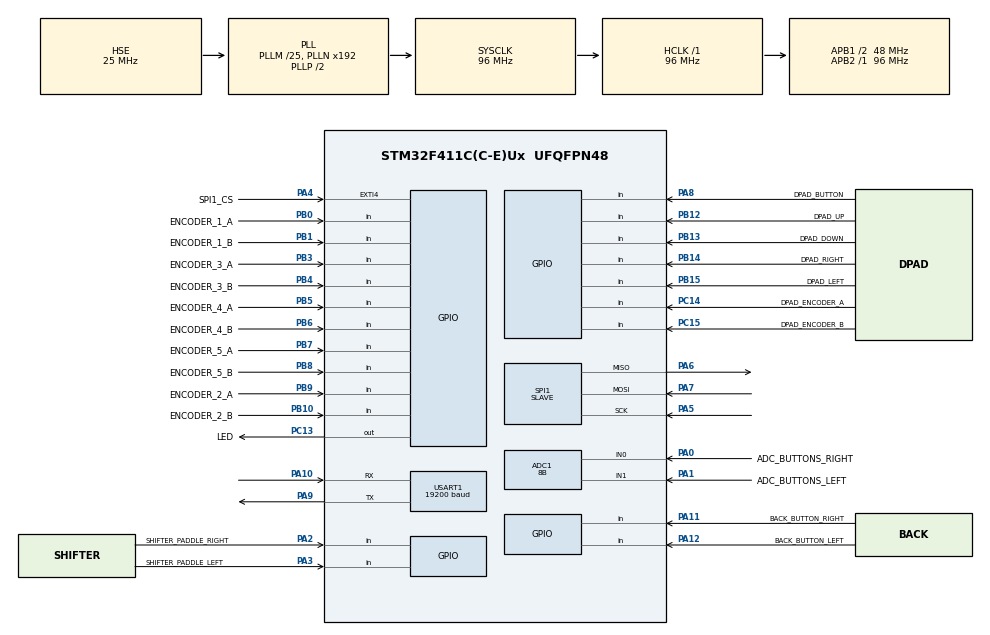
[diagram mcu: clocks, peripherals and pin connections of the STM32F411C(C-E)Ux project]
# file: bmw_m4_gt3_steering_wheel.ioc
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ADC1.Channel-0\#ChannelRegularConversion=ADC_CHANNEL_0
ADC1.Channel-1\#ChannelRegularConversion=ADC_CHANNEL_1
ADC1.ClockPrescaler=ADC_CLOCK_SYNC_PCLK_DIV8
ADC1.NbrOfConversion=2
ADC1.NbrOfConversionFlag=1
ADC1.Rank-0\#ChannelRegularConversion=1
ADC1.Rank-1\#ChannelRegularConversion=2
ADC1.Resolution=ADC_RESOLUTION_8B
ADC1.SamplingTime-0\#ChannelRegularConversion=ADC_SAMPLETIME_3CYCLES
ADC1.SamplingTime-1\#ChannelRegularConversion=ADC_SAMPLETIME_3CYCLES
ADC1.ScanConvMode=ENABLE
ADC1.master=1
Dma.ADC1.1.Direction=DMA_PERIPH_TO_MEMORY
Dma.ADC1.1.FIFOMode=DMA_FIFOMODE_DISABLE
Dma.ADC1.1.Instance=DMA2_Stream0
Dma.ADC1.1.MemDataAlignment=DMA_MDATAALIGN_WORD
Dma.ADC1.1.MemInc=DMA_MINC_ENABLE
Dma.ADC1.1.Mode=DMA_CIRCULAR
Dma.ADC1.1.PeriphDataAlignment=DMA_PDATAALIGN_WORD
Dma.ADC1.1.PeriphInc=DMA_PINC_DISABLE
Dma.ADC1.1.Priority=DMA_PRIORITY_LOW
Dma.Request0=SPI1_TX
Dma.Request1=ADC1
Dma.SPI1_TX.0.Direction=DMA_MEMORY_TO_PERIPH
Dma.SPI1_TX.0.FIFOMode=DMA_FIFOMODE_DISABLE
Dma.SPI1_TX.0.Instance=DMA2_Stream2
Dma.SPI1_TX.0.MemDataAlignment=DMA_MDATAALIGN_BYTE
Dma.SPI1_TX.0.MemInc=DMA_MINC_ENABLE
Dma.SPI1_TX.0.Mode=DMA_NORMAL
Dma.SPI1_TX.0.PeriphDataAlignment=DMA_PDATAALIGN_BYTE
Dma.SPI1_TX.0.PeriphInc=DMA_PINC_DISABLE
Dma.SPI1_TX.0.Priority=DMA_PRIORITY_HIGH
Mcu.Family=STM32F4
Mcu.Name=STM32F411C(C-E)Ux
Mcu.Package=UFQFPN48
NVIC.DMA2_Stream0_IRQn=true\:0\:0\:false\:false\:true\:false\:true\:true
NVIC.DMA2_Stream2_IRQn=true\:0\:0\:false\:false\:true\:false\:true\:true
NVIC.EXTI4_IRQn=true\:0\:0\:false\:false\:true\:true\:true\:true
NVIC.PriorityGroup=NVIC_PRIORITYGROUP_4
NVIC.TIM1_UP_TIM10_IRQn=true\:1\:0\:true\:false\:true\:true\:true\:true
PA0-WKUP.GPIO_Label=ADC_BUTTONS_RIGHT
PA0-WKUP.Signal=ADCx_IN0
PA1.GPIO_Label=ADC_BUTTONS_LEFT
PA1.Signal=ADCx_IN1
PA10.Mode=Asynchronous
PA10.Signal=USART1_RX
PA11.GPIO_Label=BACK_BUTTON_RIGHT
PA11.GPIO_PuPd=GPIO_PULLUP
PA11.Signal=GPIO_Input
PA12.GPIO_Label=BACK_BUTTON_LEFT
PA12.GPIO_PuPd=GPIO_PULLUP
PA12.Signal=GPIO_Input
PA13.Mode=Serial_Wire
PA13.Signal=SYS_JTMS-SWDIO
PA14.Mode=Serial_Wire
PA14.Signal=SYS_JTCK-SWCLK
PA2.GPIO_Label=SHIFTER_PADDLE_RIGHT
PA2.GPIO_PuPd=GPIO_PULLUP
PA2.Signal=GPIO_Input
PA3.GPIO_Label=SHIFTER_PADDLE_LEFT
PA3.GPIO_PuPd=GPIO_PULLUP
PA3.Signal=GPIO_Input
PA4.GPIO_Label=SPI1_CS
PA4.Signal=GPXTI4
PA5.GPIO_Speed=GPIO_SPEED_FREQ_LOW
PA5.Mode=Full_Duplex_Slave
PA5.Signal=SPI1_SCK
PA6.GPIO_Speed=GPIO_SPEED_FREQ_LOW
PA6.Mode=Full_Duplex_Slave
PA6.Signal=SPI1_MISO
PA7.GPIO_Speed=GPIO_SPEED_FREQ_LOW
PA7.Mode=Full_Duplex_Slave
PA7.Signal=SPI1_MOSI
PA8.GPIO_Label=DPAD_BUTTON
PA8.GPIO_PuPd=GPIO_PULLUP
PA8.Signal=GPIO_Input
PA9.Mode=Asynchronous
PA9.Signal=USART1_TX
PB0.GPIO_Label=ENCODER_1_A
PB0.GPIO_PuPd=GPIO_PULLUP
PB0.Signal=GPIO_Input
PB1.GPIO_Label=ENCODER_1_B
PB1.GPIO_PuPd=GPIO_PULLUP
PB1.Signal=GPIO_Input
PB10.GPIO_Label=ENCODER_2_B
PB10.GPIO_PuPd=GPIO_PULLUP
PB10.Signal=GPIO_Input
PB12.GPIO_Label=DPAD_UP
PB12.GPIO_PuPd=GPIO_PULLUP
PB12.Signal=GPIO_Input
PB13.GPIO_Label=DPAD_DOWN
PB13.GPIO_PuPd=GPIO_PULLUP
PB13.Signal=GPIO_Input
PB14.GPIO_Label=DPAD_RIGHT
PB14.GPIO_PuPd=GPIO_PULLUP
PB14.Signal=GPIO_Input
PB15.GPIO_Label=DPAD_LEFT
PB15.GPIO_PuPd=GPIO_PULLUP
PB15.Signal=GPIO_Input
PB3.GPIO_Label=ENCODER_3_A
PB3.GPIO_PuPd=GPIO_PULLUP
PB3.Signal=GPIO_Input
PB4.GPIO_Label=ENCODER_3_B
PB4.GPIO_PuPd=GPIO_PULLUP
PB4.Signal=GPIO_Input
PB5.GPIO_Label=ENCODER_4_A
PB5.GPIO_PuPd=GPIO_PULLUP
PB5.Signal=GPIO_Input
PB6.GPIO_Label=ENCODER_4_B
PB6.GPIO_PuPd=GPIO_PULLUP
PB6.Signal=GPIO_Input
PB7.GPIO_Label=ENCODER_5_A
PB7.GPIO_PuPd=GPIO_PULLUP
PB7.Signal=GPIO_Input
PB8.GPIO_Label=ENCODER_5_B
PB8.GPIO_PuPd=GPIO_PULLUP
PB8.Signal=GPIO_Input
PB9.GPIO_Label=ENCODER_2_A
PB9.GPIO_PuPd=GPIO_PULLUP
PB9.Signal=GPIO_Input
PC13-ANTI_TAMP.GPIO_Label=LED
PC13-ANTI_TAMP.Signal=GPIO_Output
PC14-OSC32_IN.GPIO_Label=DPAD_ENCODER_A
PC14-OSC32_IN.GPIO_PuPd=GPIO_PULLUP
PC14-OSC32_IN.Signal=GPIO_Input
PC15-OSC32_OUT.GPIO_Label=DPAD_ENCODER_B
PC15-OSC32_OUT.GPIO_PuPd=GPIO_PULLUP
PC15-OSC32_OUT.Signal=GPIO_Input
PH0\ -\ OSC_IN.Mode=HSE-External-Oscillator
PH0\ -\ OSC_IN.Signal=RCC_OSC_IN
PH1\ -\ OSC_OUT.Mode=HSE-External-Oscillator
PH1\ -\ OSC_OUT.Signal=RCC_OSC_OUT
ProjectManager.HeapSize=0x200
ProjectManager.StackSize=0x400
ProjectManager.TargetToolchain=Makefile
RCC.48MHZClocksFreq_Value=48000000
RCC.AHBFreq_Value=96000000
RCC.APB1CLKDivider=RCC_HCLK_DIV2
RCC.APB1Freq_Value=48000000
RCC.APB1TimFreq_Value=96000000
RCC.APB2Freq_Value=96000000
RCC.APB2TimFreq_Value=96000000
RCC.CortexFreq_Value=96000000
RCC.HCLKFreq_Value=96000000
RCC.HSE_VALUE=25000000
RCC.HSI_VALUE=16000000
RCC.LSE_VALUE=32768
RCC.PLLM=25
RCC.PLLSourceVirtual=RCC_PLLSOURCE_HSE
RCC.SYSCLKFreq_VALUE=96000000
RCC.SYSCLKSource=RCC_SYSCLKSOURCE_PLLCLK
RCC.VCOOutputFreq_Value=192000000
SH.ADCx_IN0.0=ADC1_IN0,IN0
SH.ADCx_IN1.0=ADC1_IN1,IN1
SPI1.CLKPhase=SPI_PHASE_2EDGE
SPI1.Direction=SPI_DIRECTION_2LINES
SPI1.Mode=SPI_MODE_SLAVE
SPI1.TIMode=SPI_TIMODE_DISABLE
SPI1.VirtualType=VM_SLAVE
TIM1.Period=999
TIM1.Prescaler=95
USART1.BaudRate=19200
USART1.Mode=MODE_TX
USART1.VirtualMode=VM_ASYNC
VP_TIM1_VS_ClockSourceINT.Mode=Internal
board=custom

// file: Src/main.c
/* USER CODE BEGIN Header */
/**
  ******************************************************************************
  * @file           : main.c
  * @brief          : Main program body
  ******************************************************************************
  * @attention
  *
  * Copyright (c) 2024 STMicroelectronics.
  * All rights reserved.
  *
  * This software is licensed under terms that can be found in the LICENSE file
  * in the root directory of this software component.
  * If no LICENSE file comes with this software, it is provided AS-IS.
  *
  ******************************************************************************
  */
/* USER CODE END Header */
#include "main.h"

/* USER CODE BEGIN Includes */

#include <stdio.h>
#include <string.h>

#include "fanatec.h"

/* USER CODE END Includes */

ADC_HandleTypeDef hadc1;
DMA_HandleTypeDef hdma_adc1;

SPI_HandleTypeDef hspi1;
DMA_HandleTypeDef hdma_spi1_tx;

TIM_HandleTypeDef htim1;

UART_HandleTypeDef huart1;

/* USER CODE BEGIN PV */

GPIO_PinState pins_debounced[NUMBER_OF_VIRTUAL_INPUTS] = {0};

struct encoder_t encoders[NUMBER_OF_ENCODERS];

uint32_t ADC_DMA_buffer[2] = {0};
uint8_t new_ADC_data = 0;

struct fanatec_data_out_t fanatec_data_out;

char received_data;

/* USER CODE END PV */

void SystemClock_Config(void);
static void MX_GPIO_Init(void);
static void MX_DMA_Init(void);
static void MX_SPI1_Init(void);
static void MX_USART1_UART_Init(void);
static void MX_ADC1_Init(void);
static void MX_TIM1_Init(void);
/* USER CODE BEGIN PFP */

void Pin_To_Bit(uint8_t* bitfield, uint8_t bit_index, GPIO_PinState pin_state);
uint16_t Compute_UART_CRC(const uint8_t* buffer, uint8_t length);
uint16_t Accumulate_UART_CRC(uint16_t accumulation, uint8_t byte);

/* USER CODE END PFP */

int main(void)
{

  /* USER CODE BEGIN 1 */

  for (int i = 0; i < NUMBER_OF_ENCODERS; i++)
  {
    encoders[i].kind       = (i == 0) ? Half_Pulse_Per_Detent : Pulse_Per_Detent;
    encoders[i].state      = Idle;
    encoders[i].A          = GPIO_PIN_SET;
    encoders[i].B          = GPIO_PIN_SET;
    encoders[i].previous_A = GPIO_PIN_SET;
    encoders[i].previous_B = GPIO_PIN_SET;
  }

  memset(fanatec_data_out.raw, 0, sizeof (fanatec_data_out.raw));

  fanatec_data_out.header = 0xA5;
  fanatec_data_out.id     = 0x04; // ID for universal HUB
  fanatec_data_out.fwvers = 0x13; // firmware version for universal HUB
  fanatec_data_out.crc    = Compute_Fanatec_CRC(fanatec_data_out.raw, sizeof(fanatec_data_out.raw) - 1);

  /* USER CODE END 1 */

  /* MCU Configuration--------------------------------------------------------*/

  /* Reset of all peripherals, Initializes the Flash interface and the Systick. */
  HAL_Init();

  /* Configure the system clock */
  SystemClock_Config();

  /* Initialize all configured peripherals */
  MX_GPIO_Init();
  MX_DMA_Init();
  MX_SPI1_Init();
  MX_USART1_UART_Init();
  MX_ADC1_Init();
  MX_TIM1_Init();
  /* USER CODE BEGIN 2 */

  HAL_ADC_Start_DMA(&hadc1, ADC_DMA_buffer, 2);

  HAL_TIM_Base_Start_IT(&htim1);

  uint8_t UART_buffer[9] = {0};
  UART_buffer[0] = 0xA5;

  /* USER CODE END 2 */

  /* Infinite loop */
  /* USER CODE BEGIN WHILE */
  while (1)
  {
    // Increment UART buffer sequence counter
    if (UART_buffer[1] < 255)
    {
      UART_buffer[1]++;
    }
    else
    {
      UART_buffer[1] = 0;
    }

    // Map inputs to UART buffer
    Pin_To_Bit(&UART_buffer[2], 0, pins_debounced[0]);  // Right shifter paddle
    Pin_To_Bit(&UART_buffer[2], 1, pins_debounced[1]);  // Left shifter paddle
    Pin_To_Bit(&UART_buffer[2], 2, pins_debounced[2]);  // Right back button
    Pin_To_Bit(&UART_buffer[2], 3, pins_debounced[3]);  // Left back button
    Pin_To_Bit(&UART_buffer[2], 4, pins_debounced[4]);  // D-pad up
    Pin_To_Bit(&UART_buffer[2], 5, pins_debounced[5]);  // D-pad down
    Pin_To_Bit(&UART_buffer[2], 6, pins_debounced[6]);  // D-pad right
    Pin_To_Bit(&UART_buffer[2], 7, pins_debounced[7]);  // D-pad left
    if (pins_debounced[4] == GPIO_PIN_SET &&
        pins_debounced[5] == GPIO_PIN_SET &&
        pins_debounced[6] == GPIO_PIN_SET &&
        pins_debounced[7] == GPIO_PIN_SET)
      Pin_To_Bit(&UART_buffer[3], 0, pins_debounced[8]); // D-pad button
    else
      Pin_To_Bit(&UART_buffer[3], 0, GPIO_PIN_SET); // D-pad button
    Pin_To_Bit(&UART_buffer[3], 1, pins_debounced[21]); // Right 1
    Pin_To_Bit(&UART_buffer[3], 2, pins_debounced[22]); // Right 2
    Pin_To_Bit(&UART_buffer[3], 3, pins_debounced[23]); // Right 3
    Pin_To_Bit(&UART_buffer[3], 4, pins_debounced[24]); // Right 4
    Pin_To_Bit(&UART_buffer[3], 5, pins_debounced[25]); // Right 5
    Pin_To_Bit(&UART_buffer[3], 6, pins_debounced[26]); // Right 6
    Pin_To_Bit(&UART_buffer[3], 7, pins_debounced[27]); // Left 1
    Pin_To_Bit(&UART_buffer[4], 0, pins_debounced[28]); // Left 2
    Pin_To_Bit(&UART_buffer[4], 1, pins_debounced[29]); // Left 3
    Pin_To_Bit(&UART_buffer[4], 2, pins_debounced[30]); // Left 4
    Pin_To_Bit(&UART_buffer[4], 3, pins_debounced[31]); // Left 5
    Pin_To_Bit(&UART_buffer[4], 4, pins_debounced[32]); // Left 6
    Pin_To_Bit(&UART_buffer[4], 5, (encoders[0].state == Clockwise) ? GPIO_PIN_RESET : GPIO_PIN_SET);
    Pin_To_Bit(&UART_buffer[4], 6, (encoders[0].state == Counterclockwise) ? GPIO_PIN_RESET : GPIO_PIN_SET);
    Pin_To_Bit(&UART_buffer[4], 7, (encoders[1].state == Clockwise) ? GPIO_PIN_RESET : GPIO_PIN_SET);
    Pin_To_Bit(&UART_buffer[5], 0, (encoders[1].state == Counterclockwise) ? GPIO_PIN_RESET : GPIO_PIN_SET);
    Pin_To_Bit(&UART_buffer[5], 1, (encoders[2].state == Clockwise) ? GPIO_PIN_RESET : GPIO_PIN_SET);
    Pin_To_Bit(&UART_buffer[5], 2, (encoders[2].state == Counterclockwise) ? GPIO_PIN_RESET : GPIO_PIN_SET);
    Pin_To_Bit(&UART_buffer[5], 3, (encoders[3].state == Clockwise) ? GPIO_PIN_RESET : GPIO_PIN_SET);
    Pin_To_Bit(&UART_buffer[5], 4, (encoders[3].state == Counterclockwise) ? GPIO_PIN_RESET : GPIO_PIN_SET);
    Pin_To_Bit(&UART_buffer[5], 5, (encoders[4].state == Clockwise) ? GPIO_PIN_RESET : GPIO_PIN_SET);
    Pin_To_Bit(&UART_buffer[5], 6, (encoders[4].state == Counterclockwise) ? GPIO_PIN_RESET : GPIO_PIN_SET);
    Pin_To_Bit(&UART_buffer[5], 7, (encoders[5].state == Clockwise) ? GPIO_PIN_RESET : GPIO_PIN_SET);
    Pin_To_Bit(&UART_buffer[6], 0, (encoders[5].state == Counterclockwise) ? GPIO_PIN_RESET : GPIO_PIN_SET);

    uint16_t UART_CRC = Compute_UART_CRC(UART_buffer, sizeof(UART_buffer) - 2);
    UART_buffer[7] = (uint8_t)(UART_CRC & 0x00FF);
    UART_buffer[8] = (uint8_t)(UART_CRC >> 8);

    HAL_UART_Transmit(&huart1, UART_buffer, sizeof(UART_buffer), HAL_MAX_DELAY);

    HAL_Delay (2);

    /* USER CODE END WHILE */

  }
}

void SystemClock_Config(void)
{
  RCC_OscInitTypeDef RCC_OscInitStruct = {0};
  RCC_ClkInitTypeDef RCC_ClkInitStruct = {0};

  /** Configure the main internal regulator output voltage
  */
  __HAL_RCC_PWR_CLK_ENABLE();
  __HAL_PWR_VOLTAGESCALING_CONFIG(PWR_REGULATOR_VOLTAGE_SCALE1);

  /** Initializes the RCC Oscillators according to the specified parameters
  * in the RCC_OscInitTypeDef structure.
  */
  RCC_OscInitStruct.OscillatorType = RCC_OSCILLATORTYPE_HSE;
  RCC_OscInitStruct.HSEState = RCC_HSE_ON;
  RCC_OscInitStruct.PLL.PLLState = RCC_PLL_ON;
  RCC_OscInitStruct.PLL.PLLSource = RCC_PLLSOURCE_HSE;
  RCC_OscInitStruct.PLL.PLLM = 25;
  RCC_OscInitStruct.PLL.PLLN = 192;
  RCC_OscInitStruct.PLL.PLLP = RCC_PLLP_DIV2;
  RCC_OscInitStruct.PLL.PLLQ = 4;
  if (HAL_RCC_OscConfig(&RCC_OscInitStruct) != HAL_OK)
  {
    Error_Handler();
  }

  /** Initializes the CPU, AHB and APB buses clocks
  */
  RCC_ClkInitStruct.ClockType = RCC_CLOCKTYPE_HCLK|RCC_CLOCKTYPE_SYSCLK
                              |RCC_CLOCKTYPE_PCLK1|RCC_CLOCKTYPE_PCLK2;
  RCC_ClkInitStruct.SYSCLKSource = RCC_SYSCLKSOURCE_PLLCLK;
  RCC_ClkInitStruct.AHBCLKDivider = RCC_SYSCLK_DIV1;
  RCC_ClkInitStruct.APB1CLKDivider = RCC_HCLK_DIV2;
  RCC_ClkInitStruct.APB2CLKDivider = RCC_HCLK_DIV1;

  if (HAL_RCC_ClockConfig(&RCC_ClkInitStruct, FLASH_LATENCY_3) != HAL_OK)
  {
    Error_Handler();
  }
}

static void MX_ADC1_Init(void)
{

  ADC_ChannelConfTypeDef sConfig = {0};

  /** Configure the global features of the ADC (Clock, Resolution, Data Alignment and number of conversion)
  */
  hadc1.Instance = ADC1;
  hadc1.Init.ClockPrescaler = ADC_CLOCK_SYNC_PCLK_DIV8;
  hadc1.Init.Resolution = ADC_RESOLUTION_8B;
  hadc1.Init.ScanConvMode = ENABLE;
  hadc1.Init.ContinuousConvMode = DISABLE;
  hadc1.Init.DiscontinuousConvMode = DISABLE;
  hadc1.Init.ExternalTrigConvEdge = ADC_EXTERNALTRIGCONVEDGE_NONE;
  hadc1.Init.ExternalTrigConv = ADC_SOFTWARE_START;
  hadc1.Init.DataAlign = ADC_DATAALIGN_RIGHT;
  hadc1.Init.NbrOfConversion = 2;
  hadc1.Init.DMAContinuousRequests = DISABLE;
  hadc1.Init.EOCSelection = ADC_EOC_SINGLE_CONV;
  if (HAL_ADC_Init(&hadc1) != HAL_OK)
  {
    Error_Handler();
  }

  /** Configure for the selected ADC regular channel its corresponding rank in the sequencer and its sample time.
  */
  sConfig.Channel = ADC_CHANNEL_0;
  sConfig.Rank = 1;
  sConfig.SamplingTime = ADC_SAMPLETIME_3CYCLES;
  if (HAL_ADC_ConfigChannel(&hadc1, &sConfig) != HAL_OK)
  {
    Error_Handler();
  }

  /** Configure for the selected ADC regular channel its corresponding rank in the sequencer and its sample time.
  */
  sConfig.Channel = ADC_CHANNEL_1;
  sConfig.Rank = 2;
  if (HAL_ADC_ConfigChannel(&hadc1, &sConfig) != HAL_OK)
  {
    Error_Handler();
  }

}

static void MX_SPI1_Init(void)
{

  /* SPI1 parameter configuration*/
  hspi1.Instance = SPI1;
  hspi1.Init.Mode = SPI_MODE_SLAVE;
  hspi1.Init.Direction = SPI_DIRECTION_2LINES;
  hspi1.Init.DataSize = SPI_DATASIZE_8BIT;
  hspi1.Init.CLKPolarity = SPI_POLARITY_LOW;
  hspi1.Init.CLKPhase = SPI_PHASE_2EDGE;
  hspi1.Init.NSS = SPI_NSS_SOFT;
  hspi1.Init.FirstBit = SPI_FIRSTBIT_MSB;
  hspi1.Init.TIMode = SPI_TIMODE_DISABLE;
  hspi1.Init.CRCCalculation = SPI_CRCCALCULATION_DISABLE;
  hspi1.Init.CRCPolynomial = 10;
  if (HAL_SPI_Init(&hspi1) != HAL_OK)
  {
    Error_Handler();
  }

}

static void MX_TIM1_Init(void)
{

  TIM_ClockConfigTypeDef sClockSourceConfig = {0};
  TIM_MasterConfigTypeDef sMasterConfig = {0};

  htim1.Instance = TIM1;
  htim1.Init.Prescaler = 95;
  htim1.Init.CounterMode = TIM_COUNTERMODE_UP;
  htim1.Init.Period = 999;
  htim1.Init.ClockDivision = TIM_CLOCKDIVISION_DIV1;
  htim1.Init.RepetitionCounter = 0;
  htim1.Init.AutoReloadPreload = TIM_AUTORELOAD_PRELOAD_DISABLE;
  if (HAL_TIM_Base_Init(&htim1) != HAL_OK)
  {
    Error_Handler();
  }
  sClockSourceConfig.ClockSource = TIM_CLOCKSOURCE_INTERNAL;
  if (HAL_TIM_ConfigClockSource(&htim1, &sClockSourceConfig) != HAL_OK)
  {
    Error_Handler();
  }
  sMasterConfig.MasterOutputTrigger = TIM_TRGO_RESET;
  sMasterConfig.MasterSlaveMode = TIM_MASTERSLAVEMODE_DISABLE;
  if (HAL_TIMEx_MasterConfigSynchronization(&htim1, &sMasterConfig) != HAL_OK)
  {
    Error_Handler();
  }

}

static void MX_USART1_UART_Init(void)
{

  huart1.Instance = USART1;
  huart1.Init.BaudRate = 19200;
  huart1.Init.WordLength = UART_WORDLENGTH_8B;
  huart1.Init.StopBits = UART_STOPBITS_1;
  huart1.Init.Parity = UART_PARITY_NONE;
  huart1.Init.Mode = UART_MODE_TX;
  huart1.Init.HwFlowCtl = UART_HWCONTROL_NONE;
  huart1.Init.OverSampling = UART_OVERSAMPLING_16;
  if (HAL_UART_Init(&huart1) != HAL_OK)
  {
    Error_Handler();
  }

}

static void MX_DMA_Init(void)
{

  /* DMA controller clock enable */
  __HAL_RCC_DMA2_CLK_ENABLE();

  /* DMA interrupt init */
  /* DMA2_Stream0_IRQn interrupt configuration */
  HAL_NVIC_SetPriority(DMA2_Stream0_IRQn, 0, 0);
  HAL_NVIC_EnableIRQ(DMA2_Stream0_IRQn);
  /* DMA2_Stream2_IRQn interrupt configuration */
  HAL_NVIC_SetPriority(DMA2_Stream2_IRQn, 0, 0);
  HAL_NVIC_EnableIRQ(DMA2_Stream2_IRQn);

}

static void MX_GPIO_Init(void)
{
  GPIO_InitTypeDef GPIO_InitStruct = {0};

  /* GPIO Ports Clock Enable */
  __HAL_RCC_GPIOC_CLK_ENABLE();
  __HAL_RCC_GPIOH_CLK_ENABLE();
  __HAL_RCC_GPIOA_CLK_ENABLE();
  __HAL_RCC_GPIOB_CLK_ENABLE();

  /*Configure GPIO pin Output Level */
  HAL_GPIO_WritePin(LED_GPIO_Port, LED_Pin, GPIO_PIN_RESET);

  /*Configure GPIO pin : LED_Pin */
  GPIO_InitStruct.Pin = LED_Pin;
  GPIO_InitStruct.Mode = GPIO_MODE_OUTPUT_PP;
  GPIO_InitStruct.Pull = GPIO_NOPULL;
  GPIO_InitStruct.Speed = GPIO_SPEED_FREQ_LOW;
  HAL_GPIO_Init(LED_GPIO_Port, &GPIO_InitStruct);

  /*Configure GPIO pins : DPAD_ENCODER_A_Pin DPAD_ENCODER_B_Pin */
  GPIO_InitStruct.Pin = DPAD_ENCODER_A_Pin|DPAD_ENCODER_B_Pin;
  GPIO_InitStruct.Mode = GPIO_MODE_INPUT;
  GPIO_InitStruct.Pull = GPIO_PULLUP;
  HAL_GPIO_Init(GPIOC, &GPIO_InitStruct);

  /*Configure GPIO pins : SHIFTER_PADDLE_RIGHT_Pin SHIFTER_PADDLE_LEFT_Pin DPAD_BUTTON_Pin BACK_BUTTON_RIGHT_Pin
                           BACK_BUTTON_LEFT_Pin */
  GPIO_InitStruct.Pin = SHIFTER_PADDLE_RIGHT_Pin|SHIFTER_PADDLE_LEFT_Pin|DPAD_BUTTON_Pin|BACK_BUTTON_RIGHT_Pin
                          |BACK_BUTTON_LEFT_Pin;
  GPIO_InitStruct.Mode = GPIO_MODE_INPUT;
  GPIO_InitStruct.Pull = GPIO_PULLUP;
  HAL_GPIO_Init(GPIOA, &GPIO_InitStruct);

  /*Configure GPIO pin : SPI1_CS_Pin */
  GPIO_InitStruct.Pin = SPI1_CS_Pin;
  GPIO_InitStruct.Mode = GPIO_MODE_IT_RISING;
  GPIO_InitStruct.Pull = GPIO_NOPULL;
  HAL_GPIO_Init(SPI1_CS_GPIO_Port, &GPIO_InitStruct);

  /*Configure GPIO pins : ENCODER_1_A_Pin ENCODER_1_B_Pin ENCODER_2_B_Pin DPAD_UP_Pin
                           DPAD_DOWN_Pin DPAD_RIGHT_Pin DPAD_LEFT_Pin ENCODER_3_A_Pin
                           ENCODER_3_B_Pin ENCODER_4_A_Pin ENCODER_4_B_Pin ENCODER_5_A_Pin
                           ENCODER_5_B_Pin ENCODER_2_A_Pin */
  GPIO_InitStruct.Pin = ENCODER_1_A_Pin|ENCODER_1_B_Pin|ENCODER_2_B_Pin|DPAD_UP_Pin
                          |DPAD_DOWN_Pin|DPAD_RIGHT_Pin|DPAD_LEFT_Pin|ENCODER_3_A_Pin
                          |ENCODER_3_B_Pin|ENCODER_4_A_Pin|ENCODER_4_B_Pin|ENCODER_5_A_Pin
                          |ENCODER_5_B_Pin|ENCODER_2_A_Pin;
  GPIO_InitStruct.Mode = GPIO_MODE_INPUT;
  GPIO_InitStruct.Pull = GPIO_PULLUP;
  HAL_GPIO_Init(GPIOB, &GPIO_InitStruct);

  /* EXTI interrupt init*/
  HAL_NVIC_SetPriority(EXTI4_IRQn, 0, 0);
  HAL_NVIC_EnableIRQ(EXTI4_IRQn);

}

/* USER CODE BEGIN 4 */

void HAL_ADC_ConvCpltCallback(ADC_HandleTypeDef* hadc)
{
    new_ADC_data = 1;
}

void SPI1_CS_High_IRQ_Handler(void)
{
  HAL_SPI_Transmit_DMA(&hspi1, fanatec_data_out.raw, sizeof(fanatec_data_out.raw));
}

void HAL_TIM_PeriodElapsedCallback(TIM_HandleTypeDef* htim)
{
  static GPIO_TypeDef* const GPIO_port[NUMBER_OF_DIGITAL_INPUTS] =
   {SHIFTER_PADDLE_RIGHT_GPIO_Port,
    SHIFTER_PADDLE_LEFT_GPIO_Port,
    BACK_BUTTON_RIGHT_GPIO_Port,
    BACK_BUTTON_LEFT_GPIO_Port,
    DPAD_UP_GPIO_Port,
    DPAD_DOWN_GPIO_Port,
    DPAD_RIGHT_GPIO_Port,
    DPAD_LEFT_GPIO_Port,
    DPAD_BUTTON_GPIO_Port,
    DPAD_ENCODER_A_GPIO_Port,
    DPAD_ENCODER_B_GPIO_Port,
    ENCODER_1_A_GPIO_Port,
    ENCODER_1_B_GPIO_Port,
    ENCODER_2_A_GPIO_Port,
    ENCODER_2_B_GPIO_Port,
    ENCODER_3_A_GPIO_Port,
    ENCODER_3_B_GPIO_Port,
    ENCODER_4_A_GPIO_Port,
    ENCODER_4_B_GPIO_Port,
    ENCODER_5_A_GPIO_Port,
    ENCODER_5_B_GPIO_Port};

  static const uint16_t GPIO_pin[NUMBER_OF_DIGITAL_INPUTS] =
   {SHIFTER_PADDLE_RIGHT_Pin,
    SHIFTER_PADDLE_LEFT_Pin,
    BACK_BUTTON_RIGHT_Pin,
    BACK_BUTTON_LEFT_Pin,
    DPAD_UP_Pin,
    DPAD_DOWN_Pin,
    DPAD_RIGHT_Pin,
    DPAD_LEFT_Pin,
    DPAD_BUTTON_Pin,
    DPAD_ENCODER_A_Pin,
    DPAD_ENCODER_B_Pin,
    ENCODER_1_A_Pin,
    ENCODER_1_B_Pin,
    ENCODER_2_A_Pin,
    ENCODER_2_B_Pin,
    ENCODER_3_A_Pin,
    ENCODER_3_B_Pin,
    ENCODER_4_A_Pin,
    ENCODER_4_B_Pin,
    ENCODER_5_A_Pin,
    ENCODER_5_B_Pin};

  static GPIO_PinState pins_state[NUMBER_OF_VIRTUAL_INPUTS] = {0};
  static GPIO_PinState previous_pins_state[NUMBER_OF_VIRTUAL_INPUTS] = {0};

  static uint8_t nb_cycles_stable[NUMBER_OF_VIRTUAL_INPUTS] = {0};

  // Read digital inputs
  for (int i = 0; i < NUMBER_OF_DIGITAL_INPUTS; i++)
  {
    pins_state[i] = HAL_GPIO_ReadPin(GPIO_port[i], GPIO_pin[i]);
  }

  // Compute buttons connected to ADC state
  if (new_ADC_data == 1)
  {
    new_ADC_data = 0;

    // Reset all pins first (active low)
    for (int i = 0; i < NUMBER_OF_ADC_BUTTONS; i++)
    {
      pins_state[NUMBER_OF_DIGITAL_INPUTS + i] = GPIO_PIN_SET;
    }

    for (int i = 0; i < 2; i++)
    {
      if (ADC_DMA_buffer[i] < 21)
        pins_state[NUMBER_OF_DIGITAL_INPUTS + (i * 6)] = GPIO_PIN_RESET;
      else if (ADC_DMA_buffer[i] < 64)
        pins_state[NUMBER_OF_DIGITAL_INPUTS + (i * 6) + 1] = GPIO_PIN_RESET;
      else if (ADC_DMA_buffer[i] < 106)
        pins_state[NUMBER_OF_DIGITAL_INPUTS + (i * 6) + 2] = GPIO_PIN_RESET;
      else if (ADC_DMA_buffer[i] < 149)
        pins_state[NUMBER_OF_DIGITAL_INPUTS + (i * 6) + 3] = GPIO_PIN_RESET;
      else if (ADC_DMA_buffer[i] < 191)
        pins_state[NUMBER_OF_DIGITAL_INPUTS + (i * 6) + 4] = GPIO_PIN_RESET;
      else if (ADC_DMA_buffer[i] < 234)
        pins_state[NUMBER_OF_DIGITAL_INPUTS + (i * 6) + 5] = GPIO_PIN_RESET;
    }

    HAL_ADC_Start_DMA(&hadc1, ADC_DMA_buffer, 2);
  }

  // Debounce inputs
  for (int i = 0; i < NUMBER_OF_VIRTUAL_INPUTS; i++)
  {
    if (previous_pins_state[i] == pins_state[i])
    {
      nb_cycles_stable[i]++;
    }
    else
    {
      previous_pins_state[i] = pins_state[i];
      nb_cycles_stable[i]    = 0;
    }

    if (nb_cycles_stable[i] >= DEBOUNCE_CYCLES)
    {
      pins_debounced[i] = pins_state[i];
    }
  }

  // Compute encoders state
  for (int i = 0; i < NUMBER_OF_ENCODERS; i++)
  {
    uint8_t A_index = NUMBER_OF_BUTTONS + (i * 2);
    uint8_t B_index = NUMBER_OF_BUTTONS + (i * 2) + 1;

    encoders[i].A = pins_debounced[A_index];
    encoders[i].B = pins_debounced[B_index];

    switch (encoders[i].kind)
    {
      case Pulse_Per_Detent:
        switch (encoders[i].state)
        {
          case Idle:
            if (encoders[i].A == GPIO_PIN_RESET
                && encoders[i].A != encoders[i].previous_A
                && encoders[i].B == GPIO_PIN_SET)
            {
              encoders[i].state = Clockwise;
            }
            else if (encoders[i].B == GPIO_PIN_RESET
                && encoders[i].B != encoders[i].previous_B
                && encoders[i].A == GPIO_PIN_SET)
            {
              encoders[i].state = Counterclockwise;
            }
            break;

          case Clockwise:
            if (encoders[i].A == GPIO_PIN_SET)
            {
              encoders[i].state = Idle;
            }
            break;

          case Counterclockwise:
            if (encoders[i].B == GPIO_PIN_SET)
            {
              encoders[i].state = Idle;
            }
            break;
        }
        break;

      case Half_Pulse_Per_Detent:
        switch (encoders[i].state)
        {
          case Idle:
            if (encoders[i].A != encoders[i].previous_A
                && encoders[i].B == encoders[i].previous_A)
            {
              encoders[i].state = Clockwise;
            }
            else if (encoders[i].B != encoders[i].previous_B
                && encoders[i].A == encoders[i].previous_B)
            {
              encoders[i].state = Counterclockwise;
            }
            break;

          case Clockwise:
            if (encoders[i].A == encoders[i].B)
            {
              encoders[i].state = Idle;
            }
            break;

          case Counterclockwise:
            if (encoders[i].A == encoders[i].B)
            {
              encoders[i].state = Idle;
            }
            break;
        }
        break;
    }

    encoders[i].previous_A = encoders[i].A;
    encoders[i].previous_B = encoders[i].B;
  }

  // Heartbeat LED at 1Hz
  static uint16_t LED_counter = 0;

  if (LED_counter > 500)
  {
    HAL_GPIO_TogglePin(LED_GPIO_Port, LED_Pin);
    LED_counter = 0;
  }
  else
  {
    LED_counter++;
  }
}

void Pin_To_Bit(uint8_t* bitfield, uint8_t bit_index, GPIO_PinState pin_state)
{
  if (pin_state == GPIO_PIN_SET)
  {
    *bitfield &= ~(1 << bit_index);
  }
  else
  {
    *bitfield |= (1 << bit_index);
  }
}

uint16_t Compute_UART_CRC(const uint8_t* buffer, uint8_t length)
{
  // MCRF4XX 16 bits CRC with 0xFFFF init value
  uint16_t accumulation = 0xFFFF;

  for (int i = 0; i < length; i++)
  {
    accumulation = Accumulate_UART_CRC(accumulation, buffer[i]);
  }

  return accumulation;
}

uint16_t Accumulate_UART_CRC(uint16_t accumulation, uint8_t byte)
{
  const uint16_t accumulation_LSB = accumulation & 0x00FF;
  const uint16_t accumulation_MSB = accumulation >> 8;
  uint16_t tmp = (uint16_t)(byte) ^ accumulation_LSB;

  tmp ^= (tmp << 4) & 0x00FF;
  return accumulation_MSB ^ (tmp << 8) ^ (tmp << 3) ^ (tmp >> 4);
}

/* USER CODE END 4 */

void Error_Handler(void)
{
  __disable_irq();
  while (1)
  {
  }
}
